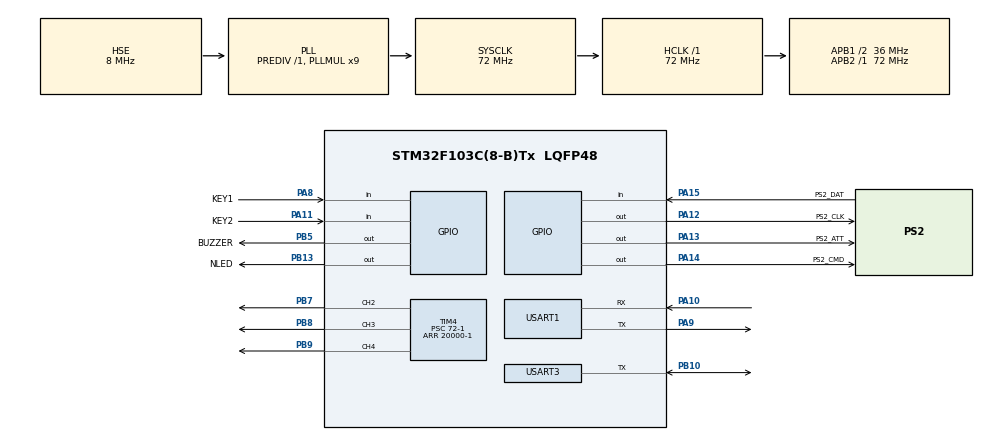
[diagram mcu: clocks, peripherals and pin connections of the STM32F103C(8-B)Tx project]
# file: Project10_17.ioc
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Mcu.Family=STM32F1
Mcu.Name=STM32F103C(8-B)Tx
Mcu.Package=LQFP48
NVIC.PriorityGroup=NVIC_PRIORITYGROUP_4
NVIC.USART1_IRQn=true\:0\:0\:false\:false\:true\:true\:true\:true
NVIC.USART3_IRQn=true\:0\:0\:false\:false\:true\:true\:true\:true
PA10.Mode=Asynchronous
PA10.Signal=USART1_RX
PA11.GPIO_Label=KEY2
PA11.Signal=GPIO_Input
PA12.GPIO_Label=PS2_CLK
PA12.Signal=GPIO_Output
PA13.GPIO_Label=PS2_ATT
PA13.Signal=GPIO_Output
PA14.GPIO_Label=PS2_CMD
PA14.Signal=GPIO_Output
PA15.GPIO_Label=PS2_DAT
PA15.Signal=GPIO_Input
PA8.GPIO_Label=KEY1
PA8.Signal=GPIO_Input
PA9.Mode=Asynchronous
PA9.Signal=USART1_TX
PB10.Mode=Half_duplex(single_wire_mode)
PB10.Signal=USART3_TX
PB13.GPIO_Label=NLED
PB13.Signal=GPIO_Output
PB5.GPIO_Label=BUZZER
PB5.Signal=GPIO_Output
PB7.Signal=S_TIM4_CH2
PB8.Signal=S_TIM4_CH3
PB9.Signal=S_TIM4_CH4
PD0-OSC_IN.Mode=HSE-External-Oscillator
PD0-OSC_IN.Signal=RCC_OSC_IN
PD1-OSC_OUT.Mode=HSE-External-Oscillator
PD1-OSC_OUT.Signal=RCC_OSC_OUT
ProjectManager.HeapSize=0x200
ProjectManager.StackSize=0x400
ProjectManager.TargetToolchain=MDK-ARM V5.32
RCC.AHBFreq_Value=72000000
RCC.APB1CLKDivider=RCC_HCLK_DIV2
RCC.APB1Freq_Value=36000000
RCC.APB1TimFreq_Value=72000000
RCC.APB2Freq_Value=72000000
RCC.APB2TimFreq_Value=72000000
RCC.HCLKFreq_Value=72000000
RCC.PLLMUL=RCC_PLL_MUL9
RCC.PLLSourceVirtual=RCC_PLLSOURCE_HSE
RCC.SYSCLKFreq_VALUE=72000000
RCC.SYSCLKSource=RCC_SYSCLKSOURCE_PLLCLK
RCC.USBFreq_Value=72000000
SH.S_TIM4_CH2.0=TIM4_CH2,PWM Generation2 CH2
SH.S_TIM4_CH3.0=TIM4_CH3,PWM Generation3 CH3
SH.S_TIM4_CH4.0=TIM4_CH4,PWM Generation4 CH4
TIM4.Channel-PWM\ Generation2\ CH2=TIM_CHANNEL_2
TIM4.Channel-PWM\ Generation3\ CH3=TIM_CHANNEL_3
TIM4.Channel-PWM\ Generation4\ CH4=TIM_CHANNEL_4
TIM4.Period=20000-1
TIM4.Prescaler=72-1
USART1.VirtualMode=VM_ASYNC
USART3.VirtualMode=VM_ASYNC
VP_SYS_VS_ND.Mode=No_Debug
board=custom

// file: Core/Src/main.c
/* USER CODE BEGIN Header */
/**
  ******************************************************************************
  * @file           : main.c
  * @brief          : Main program body
  ******************************************************************************
  * @attention
  *
  * Copyright (c) 2024 STMicroelectronics.
  * All rights reserved.
  *
  * This software is licensed under terms that can be found in the LICENSE file
  * in the root directory of this software component.
  * If no LICENSE file comes with this software, it is provided AS-IS.
  *
  ******************************************************************************
  */
/* USER CODE END Header */
#include "main.h"
#include "tim.h"
#include "usart.h"
#include "gpio.h"

/* USER CODE BEGIN Includes */
#include "motor.h"
#include "servo.h"
#include "ps2.h"
#include "voice.h"
/* USER CODE END Includes */

/* USER CODE BEGIN PTD */
uint8_t voice_mode = 1;
/* USER CODE END PTD */

void SystemClock_Config(void);

int main(void)
{

  /* MCU Configuration--------------------------------------------------------*/

  /* Reset of all peripherals, Initializes the Flash interface and the Systick. */
  HAL_Init();

  /* Configure the system clock */
  SystemClock_Config();

  /* Initialize all configured peripherals */
  MX_GPIO_Init();
  MX_USART1_UART_Init();
  MX_USART3_UART_Init();
  MX_TIM4_Init();
  /* USER CODE BEGIN 2 */
	HAL_TIM_PWM_Start(&htim4,TIM_CHANNEL_2);
	HAL_TIM_PWM_Start(&htim4,TIM_CHANNEL_3);
	HAL_TIM_PWM_Start(&htim4,TIM_CHANNEL_4);
	HAL_UART_Receive_IT(&huart1, (uint8_t *)&aRx1Buffer, 1);
	HAL_Delay(5000);
	PSX_init();
	Motor_Init();
	Servo_Init();
//	Servo_Init();
  /* USER CODE END 2 */

  /* Infinite loop */
  while (1)
  {

    /* USER CODE BEGIN 3 */

		HAL_Delay(50);

		if(ps2_flag == 1)
		{
			psx_write_read(psx_buf);
			loop_ps2_button();
			loop_ps2_car();
		}
		HAL_GPIO_TogglePin(NLED_GPIO_Port,NLED_Pin);
		__HAL_TIM_SET_COMPARE(&htim4, TIM_CHANNEL_2,1500);
		__HAL_TIM_SET_COMPARE(&htim4, TIM_CHANNEL_3,1500);
		__HAL_TIM_SET_COMPARE(&htim4, TIM_CHANNEL_4,1500);
  }
  /* USER CODE END 3 */
}

void SystemClock_Config(void)
{
  RCC_OscInitTypeDef RCC_OscInitStruct = {0};
  RCC_ClkInitTypeDef RCC_ClkInitStruct = {0};

  /** Initializes the RCC Oscillators according to the specified parameters
  * in the RCC_OscInitTypeDef structure.
  */
  RCC_OscInitStruct.OscillatorType = RCC_OSCILLATORTYPE_HSE;
  RCC_OscInitStruct.HSEState = RCC_HSE_ON;
  RCC_OscInitStruct.HSEPredivValue = RCC_HSE_PREDIV_DIV1;
  RCC_OscInitStruct.HSIState = RCC_HSI_ON;
  RCC_OscInitStruct.PLL.PLLState = RCC_PLL_ON;
  RCC_OscInitStruct.PLL.PLLSource = RCC_PLLSOURCE_HSE;
  RCC_OscInitStruct.PLL.PLLMUL = RCC_PLL_MUL9;
  if (HAL_RCC_OscConfig(&RCC_OscInitStruct) != HAL_OK)
  {
    Error_Handler();
  }

  /** Initializes the CPU, AHB and APB buses clocks
  */
  RCC_ClkInitStruct.ClockType = RCC_CLOCKTYPE_HCLK|RCC_CLOCKTYPE_SYSCLK
                              |RCC_CLOCKTYPE_PCLK1|RCC_CLOCKTYPE_PCLK2;
  RCC_ClkInitStruct.SYSCLKSource = RCC_SYSCLKSOURCE_PLLCLK;
  RCC_ClkInitStruct.AHBCLKDivider = RCC_SYSCLK_DIV1;
  RCC_ClkInitStruct.APB1CLKDivider = RCC_HCLK_DIV2;
  RCC_ClkInitStruct.APB2CLKDivider = RCC_HCLK_DIV1;

  if (HAL_RCC_ClockConfig(&RCC_ClkInitStruct, FLASH_LATENCY_2) != HAL_OK)
  {
    Error_Handler();
  }
}

/* USER CODE BEGIN 4 */
/**
  * @brief  定时器延时us，Prescaler -> 168-1
  * @param  us: <= 65535
  * @retval None
  */

void Delay_us(uint16_t nus)
{
	__HAL_TIM_SetCounter(&htim4,0);
	__HAL_TIM_ENABLE(&htim4);
	while (__HAL_TIM_GET_COUNTER(&htim4) < nus)
	{
	}
	__HAL_TIM_DISABLE(&htim4);
}

void HAL_TIM_PeriodElapsedCallback(TIM_HandleTypeDef *htim)
{
//	if(htim->Instance == TIM2)
//	{
//		uint8_t buffer[] = "emmm...";
//		static uint8_t count = 0;
//    if (htim == (&htim2))
//    {
//			if(++count == 10)
//			{
//				HAL_UART_Transmit(&huart1,buffer,sizeof(buffer),0xffff);
//				count = 0;
//			}
//    }
//	}
}
/* USER CODE END 4 */

void Error_Handler(void)
{
  __disable_irq();
  while (1)
  {
  }
}
